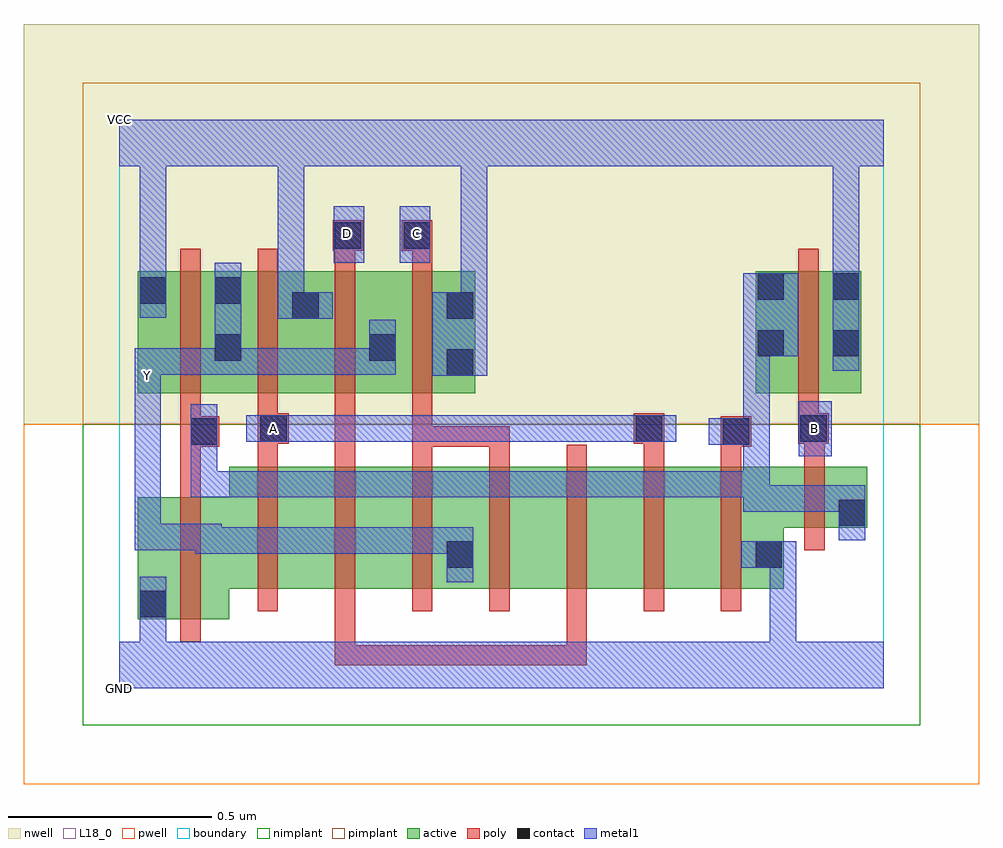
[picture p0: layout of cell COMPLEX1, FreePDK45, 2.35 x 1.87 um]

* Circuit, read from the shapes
.subckt COMPLEX1 A B C D GND VCC Y
M1 n1 n2 GND VSUBS nfet w=0.3u l=0.05u
M2 n3 A n1 VSUBS nfet w=0.3u l=0.05u
M3 n4 D n3 VSUBS nfet w=0.3u l=0.05u
M4 Y C n4 VSUBS nfet w=0.3u l=0.05u
M5 n5 C Y VSUBS nfet w=0.3u l=0.05u
M6 n6 D n5 VSUBS nfet w=0.3u l=0.05u
M7 n7 A n6 VSUBS nfet w=0.3u l=0.05u
M8 GND n2 n7 VSUBS nfet w=0.3u l=0.05u
M9 n2 B GND VSUBS nfet w=0.15u l=0.05u
M10 Y n2 VCC n8 pfet w=0.3u l=0.05u
M11 VCC A Y n8 pfet w=0.3u l=0.05u
M12 Y D VCC n8 pfet w=0.3u l=0.05u
M13 VCC C Y n8 pfet w=0.3u l=0.05u
M14 VCC B n2 n8 pfet w=0.3u l=0.05u
.ends

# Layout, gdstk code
import gdstk
lib = gdstk.Library(unit=1e-6, precision=1e-09)
def R(c, l, rs):  # rectangles x0, y0, x1, y1
    for r in rs: c.add(gdstk.rectangle(r[:2], r[2:], *l))
def A(c, l, x, y, w, h, nx, ny, dx, dy):  # array of equal rectangles
    R(c, l, [(x+i*dx, y+j*dy, x+i*dx+w, y+j*dy+h) for i in range(nx) for j in range(ny)])
active = (1, 0)
pwell = (2, 0)
nwell = (3, 0)
nimplant = (4, 0)
pimplant = (5, 0)
poly = (9, 0)
contact = (10, 0)
metal1 = (11, 0)
L18_0 = (18, 0)
boundary = (235, 0)

complex1 = lib.new_cell('COMPLEX1')
A(complex1, active, 0.23, 0.727, 0.265, 0.3, 3, 1, 0.19, 0)
R(complex1, active, [(0.045,0.17,0.27,0.47), (0.045,0.17,0.12,0.47), (0.27,0.245,0.46,0.545), (0.46,0.245,0.65,0.545), (0.65,0.245,0.875,0.545), (0.8,0.245,1.03,0.545), (0.8,0.245,0.875,0.545), (1.03,0.245,1.22,0.545), (1.22,0.245,1.41,0.545), (1.41,0.245,1.635,0.545), (1.56,0.292,1.635,0.545), (1.56,0.395,1.84,0.545), (1.765,0.395,1.84,0.545), (0.045,0.727,0.12,1.027), (0.045,0.727,0.305,1.027), (0.61,0.727,0.685,1.005), (0.8,0.727,0.875,1.005), (1.565,0.727,1.64,1.027), (1.565,0.727,1.825,1.027), (1.75,0.727,1.825,1.027), (0.42,0.742,0.495,1.027), (0.23,0.802,0.305,1.027)])
R(complex1, pwell, [(-0.235,-0.235,2.115,0.65)])
R(complex1, nwell, [(-0.235,0.65,2.115,1.635)])
R(complex1, nimplant, [(-0.09,-0.09,1.97,0.65)])
R(complex1, pimplant, [(-0.09,0.65,1.97,1.49)])
A(complex1, poly, 0.34, 0.19, 0.05, 0.41, 7, 1, 0.19, 0)
A(complex1, poly, 0.53, 0.55, 0.05, 0.095, 3, 1, 0.19, 0)
A(complex1, poly, 0.15, 0.672, 0.05, 0.41, 4, 1, 0.19, 0)
R(complex1, poly, [(0.53,0.057,0.58,0.24), (0.53,0.057,0.58,0.107), (0.53,0.057,0.58,0.107), (0.53,0.057,0.58,0.107), (0.53,0.057,0.827,0.107), (0.777,0.057,0.827,0.107), (0.777,0.057,0.827,0.107), (0.777,0.057,0.827,0.107), (0.777,0.057,1.017,0.107), (0.967,0.057,1.017,0.107), (0.967,0.057,1.15,0.107), (1.1,0.057,1.15,0.24), (1.1,0.057,1.15,0.107), (1.1,0.057,1.15,0.107), (1.1,0.057,1.15,0.107), (0.15,0.115,0.2,0.525), (1.685,0.34,1.735,0.6), (0.15,0.475,0.2,0.645), (0.34,0.55,0.39,0.652), (1.29,0.55,1.34,0.652), (1.48,0.55,1.53,0.645), (1.685,0.55,1.735,0.652), (0.15,0.595,0.245,0.67), (0.53,0.595,0.58,0.645), (0.53,0.595,0.58,0.722), (0.72,0.595,0.77,0.645), (0.72,0.595,0.77,0.645), (0.72,0.595,0.77,0.645), (0.72,0.595,0.96,0.645), (0.72,0.595,0.77,0.722), (0.91,0.595,0.96,0.645), (1.48,0.595,1.555,0.67), (0.34,0.602,0.417,0.677), (1.265,0.602,1.34,0.677), (1.67,0.602,1.745,0.677), (0.15,0.62,0.2,0.722), (0.34,0.627,0.39,0.722), (1.67,0.627,1.72,0.722), (1.67,0.672,1.72,1.082), (0.53,1.032,0.58,1.127), (0.72,1.032,0.77,1.127), (0.525,1.077,0.6,1.152), (0.695,1.077,0.77,1.152)])
R(complex1, contact, [(0.05,0.175,0.115,0.24), (0.805,0.297,0.87,0.362), (1.565,0.297,1.63,0.362), (1.77,0.4,1.835,0.465), (0.175,0.6,0.24,0.665), (1.485,0.6,1.55,0.665), (0.347,0.607,0.412,0.672), (1.27,0.607,1.335,0.672), (1.675,0.607,1.74,0.672), (0.805,0.77,0.87,0.835), (0.235,0.807,0.3,0.872), (0.615,0.807,0.68,0.872), (1.57,0.817,1.635,0.882), (1.755,0.817,1.82,0.882), (0.425,0.91,0.49,0.975), (0.805,0.91,0.87,0.975), (0.05,0.947,0.115,1.012), (0.235,0.947,0.3,1.012), (1.57,0.957,1.635,1.022), (1.755,0.957,1.82,1.022), (0.53,1.082,0.595,1.147), (0.7,1.082,0.765,1.147)])
R(complex1, metal1, [(0,0,1.88,0.115), (0.05,0.05,0.115,0.205), (1.6,0.05,1.665,0.115), (1.6,0.05,1.665,0.115), (1.6,0.05,1.665,0.115), (1.6,0.05,1.665,0.115), (1.6,0.05,1.665,0.362), (0.05,0.14,0.115,0.205), (0.05,0.14,0.115,0.205), (0.05,0.14,0.115,0.205), (0.05,0.14,0.115,0.205), (0.05,0.14,0.115,0.275), (0.805,0.262,0.87,0.397), (1.53,0.297,1.665,0.362), (0.187,0.332,0.455,0.397), (0.187,0.332,0.252,0.405), (0.39,0.332,0.455,0.397), (0.39,0.332,0.455,0.397), (0.39,0.332,0.455,0.397), (0.39,0.332,0.617,0.397), (0.552,0.332,0.617,0.397), (0.552,0.332,0.617,0.397), (0.552,0.332,0.617,0.397), (0.552,0.332,0.87,0.397), (0.805,0.332,0.87,0.397), (0.805,0.332,0.87,0.397), (0.037,0.34,0.252,0.405), (0.037,0.34,0.102,0.412), (0.037,0.347,0.102,0.412), (0.037,0.347,0.102,0.412), (0.037,0.347,0.102,0.412), (0.037,0.347,0.102,0.412), (0.037,0.347,0.102,0.767), (1.77,0.365,1.835,0.5), (1.535,0.435,1.835,0.5), (1.535,0.435,1.6,0.535), (1.77,0.435,1.835,0.5), (1.77,0.435,1.835,0.5), (0.175,0.47,0.24,0.535), (0.175,0.47,0.437,0.535), (0.175,0.47,0.24,0.63), (0.372,0.47,0.437,0.535), (0.372,0.47,0.437,0.535), (0.372,0.47,0.437,0.535), (0.372,0.47,0.617,0.535), (0.552,0.47,0.617,0.535), (0.552,0.47,0.617,0.535), (0.552,0.47,0.617,0.535), (0.552,0.47,0.87,0.535), (0.805,0.47,0.87,0.535), (0.805,0.47,1.007,0.535), (0.942,0.47,1.007,0.535), (0.942,0.47,1.007,0.535), (0.942,0.47,1.007,0.535), (0.942,0.47,1.145,0.535), (1.08,0.47,1.145,0.535), (1.08,0.47,1.145,0.535), (1.08,0.47,1.145,0.535), (1.08,0.47,1.282,0.535), (1.217,0.47,1.282,0.535), (1.217,0.47,1.282,0.535), (1.217,0.47,1.282,0.535), (1.217,0.47,1.457,0.535), (1.392,0.47,1.457,0.535), (1.392,0.47,1.6,0.535), (1.535,0.47,1.6,0.535), (1.535,0.47,1.6,0.535), (1.535,0.47,1.6,0.665), (0.175,0.565,0.24,0.63), (0.175,0.565,0.24,0.63), (0.175,0.565,0.24,0.7), (1.672,0.572,1.752,0.707), (1.45,0.6,1.585,0.665), (1.52,0.6,1.6,0.665), (1.535,0.6,1.6,0.665), (1.535,0.6,1.6,0.882), (0.312,0.607,0.447,0.672), (0.382,0.607,0.447,0.672), (0.382,0.607,0.447,0.672), (0.382,0.607,0.617,0.672), (0.552,0.607,0.617,0.672), (0.552,0.607,0.617,0.672), (0.552,0.607,0.617,0.672), (0.552,0.607,0.87,0.672), (0.805,0.607,0.87,0.672), (0.805,0.607,0.87,0.672), (0.805,0.607,0.87,0.672), (0.805,0.607,1.007,0.672), (0.942,0.607,1.007,0.672), (0.942,0.607,1.145,0.672), (1.08,0.607,1.145,0.672), (1.08,0.607,1.145,0.672), (1.08,0.607,1.145,0.672), (1.08,0.607,1.3,0.672), (1.235,0.607,1.3,0.672), (1.235,0.607,1.3,0.672), (1.235,0.607,1.37,0.672), (0.037,0.702,0.102,0.837), (0.77,0.77,0.905,0.975), (0.037,0.772,0.102,0.837), (0.037,0.772,0.102,0.837), (0.037,0.772,0.102,0.837), (0.037,0.772,0.102,0.837), (0.037,0.772,0.3,0.837), (0.235,0.772,0.3,1.047), (0.235,0.772,0.455,0.837), (0.39,0.772,0.455,0.837), (0.39,0.772,0.455,0.837), (0.39,0.772,0.455,0.837), (0.39,0.772,0.617,0.837), (0.552,0.772,0.617,0.837), (0.552,0.772,0.68,0.837), (0.615,0.772,0.68,0.907), (1.755,0.782,1.82,1.057), (1.535,0.817,1.67,1.022), (0.39,0.91,0.525,0.975), (0.39,0.91,0.455,1.35), (0.84,0.91,0.905,1.35), (0.05,0.912,0.115,1.047), (0.05,0.982,0.115,1.35), (1.755,0.992,1.82,1.35), (0.527,1.047,0.602,1.187), (0.69,1.047,0.765,1.187), (0,1.285,1.88,1.4), (0.05,1.285,0.115,1.35), (0.05,1.285,0.115,1.35), (0.05,1.285,0.115,1.35), (0.05,1.285,0.115,1.35), (0.39,1.285,0.455,1.35), (0.39,1.285,0.455,1.35), (0.39,1.285,0.455,1.35), (0.39,1.285,0.455,1.35), (0.84,1.285,0.905,1.35), (0.84,1.285,0.905,1.35), (0.84,1.285,0.905,1.35), (0.84,1.285,0.905,1.35), (1.755,1.285,1.82,1.35), (1.755,1.285,1.82,1.35), (1.755,1.285,1.82,1.35), (1.755,1.285,1.82,1.35)])
R(complex1, L18_0, [(0,0,1.88,0.115), (0.05,0.05,0.115,0.205), (1.6,0.05,1.665,0.115), (1.6,0.05,1.665,0.115), (1.6,0.05,1.665,0.115), (1.6,0.05,1.665,0.115), (1.6,0.05,1.665,0.362), (0.05,0.14,0.115,0.205), (0.05,0.14,0.115,0.205), (0.05,0.14,0.115,0.205), (0.05,0.14,0.115,0.205), (0.05,0.14,0.115,0.275), (0.805,0.262,0.87,0.397), (1.53,0.297,1.665,0.362), (0.187,0.332,0.252,0.405), (0.187,0.332,0.455,0.397), (0.39,0.332,0.455,0.397), (0.39,0.332,0.455,0.397), (0.39,0.332,0.455,0.397), (0.39,0.332,0.617,0.397), (0.552,0.332,0.617,0.397), (0.552,0.332,0.617,0.397), (0.552,0.332,0.617,0.397), (0.552,0.332,0.87,0.397), (0.805,0.332,0.87,0.397), (0.805,0.332,0.87,0.397), (0.037,0.34,0.102,0.412), (0.037,0.34,0.252,0.405), (0.037,0.347,0.102,0.412), (0.037,0.347,0.102,0.412), (0.037,0.347,0.102,0.412), (0.037,0.347,0.102,0.412), (0.037,0.347,0.102,0.767), (1.672,0.572,1.752,0.707), (0.312,0.607,0.447,0.672), (0.347,0.607,0.412,0.672), (0.382,0.607,0.447,0.672), (0.382,0.607,0.447,0.672), (0.382,0.607,0.617,0.672), (0.552,0.607,0.617,0.672), (0.552,0.607,0.617,0.672), (0.552,0.607,0.617,0.672), (0.552,0.607,0.87,0.672), (0.805,0.607,0.87,0.672), (0.805,0.607,0.87,0.672), (0.805,0.607,0.87,0.672), (0.805,0.607,1.007,0.672), (0.942,0.607,1.007,0.672), (0.942,0.607,1.145,0.672), (1.08,0.607,1.145,0.672), (1.08,0.607,1.145,0.672), (1.08,0.607,1.145,0.672), (1.08,0.607,1.3,0.672), (1.235,0.607,1.3,0.672), (1.235,0.607,1.3,0.672), (1.235,0.607,1.37,0.672), (1.677,0.607,1.742,0.672), (0.037,0.702,0.102,0.837), (0.037,0.737,0.102,0.802), (0.77,0.77,0.905,0.975), (0.037,0.772,0.102,0.837), (0.037,0.772,0.102,0.837), (0.037,0.772,0.102,0.837), (0.037,0.772,0.102,0.837), (0.037,0.772,0.3,0.837), (0.235,0.772,0.3,1.047), (0.235,0.772,0.455,0.837), (0.39,0.772,0.455,0.837), (0.39,0.772,0.455,0.837), (0.39,0.772,0.455,0.837), (0.39,0.772,0.617,0.837), (0.552,0.772,0.617,0.837), (0.552,0.772,0.68,0.837), (0.615,0.772,0.68,0.907), (1.755,0.782,1.82,1.057), (0.39,0.91,0.525,0.975), (0.39,0.91,0.455,1.35), (0.84,0.91,0.905,1.35), (0.05,0.912,0.115,1.047), (0.05,0.982,0.115,1.35), (1.755,0.992,1.82,1.35), (0.527,1.047,0.602,1.187), (0.69,1.047,0.765,1.187), (0.527,1.087,0.592,1.152), (0.697,1.087,0.762,1.152), (0,1.285,1.88,1.4), (0.05,1.285,0.115,1.35), (0.05,1.285,0.115,1.35), (0.05,1.285,0.115,1.35), (0.05,1.285,0.115,1.35), (0.39,1.285,0.455,1.35), (0.39,1.285,0.455,1.35), (0.39,1.285,0.455,1.35), (0.39,1.285,0.455,1.35), (0.84,1.285,0.905,1.35), (0.84,1.285,0.905,1.35), (0.84,1.285,0.905,1.35), (0.84,1.285,0.905,1.35), (1.755,1.285,1.82,1.35), (1.755,1.285,1.82,1.35), (1.755,1.285,1.82,1.35), (1.755,1.285,1.82,1.35)])
R(complex1, boundary, [(0,0,1.88,1.4)])
complex1.add(gdstk.Label('A', (0.38,0.64), layer=11, texttype=0))
complex1.add(gdstk.Label('B', (1.71,0.64), layer=11, texttype=0))
complex1.add(gdstk.Label('C', (0.73,1.12), layer=11, texttype=0))
complex1.add(gdstk.Label('D', (0.56,1.12), layer=11, texttype=0))
complex1.add(gdstk.Label('Y', (0.07,0.77), layer=11, texttype=0))
complex1.add(gdstk.Label('VCC', (0,1.4), layer=11, texttype=0))
complex1.add(gdstk.Label('GND', (0,0), layer=11, texttype=0))

lib.write_gds('COMPLEX1.gds')
